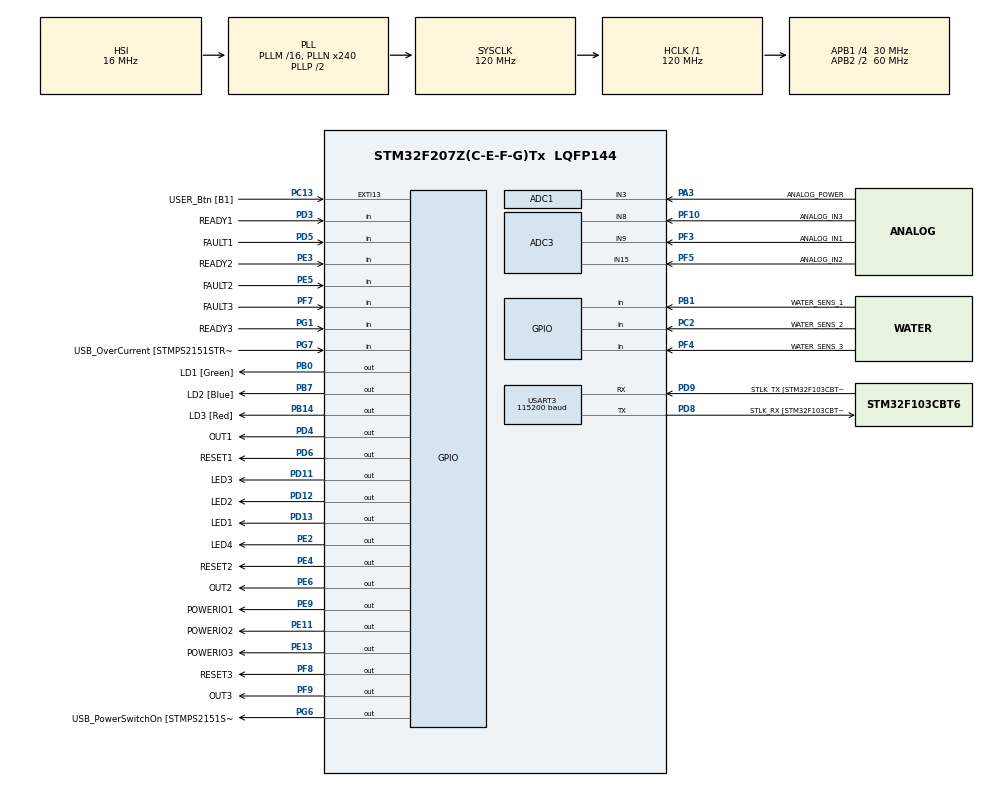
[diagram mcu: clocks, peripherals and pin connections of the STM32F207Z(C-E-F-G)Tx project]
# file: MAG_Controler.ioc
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ADC1.Channel-1\#ChannelRegularConversion=ADC_CHANNEL_3
ADC1.NbrOfConversionFlag=1
ADC1.Rank-1\#ChannelRegularConversion=1
ADC1.SamplingTime-1\#ChannelRegularConversion=ADC_SAMPLETIME_3CYCLES
ADC1.master=1
ADC3.Channel-0\#ChannelRegularConversion=ADC_CHANNEL_9
ADC3.NbrOfConversionFlag=1
ADC3.Rank-0\#ChannelRegularConversion=1
ADC3.SamplingTime-0\#ChannelRegularConversion=ADC_SAMPLETIME_3CYCLES
Dma.MEMTOMEM.0.Direction=DMA_MEMORY_TO_MEMORY
Dma.MEMTOMEM.0.FIFOMode=DMA_FIFOMODE_ENABLE
Dma.MEMTOMEM.0.FIFOThreshold=DMA_FIFO_THRESHOLD_FULL
Dma.MEMTOMEM.0.Instance=DMA2_Stream0
Dma.MEMTOMEM.0.MemBurst=DMA_MBURST_SINGLE
Dma.MEMTOMEM.0.MemDataAlignment=DMA_MDATAALIGN_BYTE
Dma.MEMTOMEM.0.MemInc=DMA_MINC_ENABLE
Dma.MEMTOMEM.0.Mode=DMA_NORMAL
Dma.MEMTOMEM.0.PeriphBurst=DMA_PBURST_SINGLE
Dma.MEMTOMEM.0.PeriphDataAlignment=DMA_PDATAALIGN_BYTE
Dma.MEMTOMEM.0.PeriphInc=DMA_PINC_DISABLE
Dma.MEMTOMEM.0.Priority=DMA_PRIORITY_LOW
Dma.Request0=MEMTOMEM
Mcu.Family=STM32F2
Mcu.Name=STM32F207Z(C-E-F-G)Tx
Mcu.Package=LQFP144
NVIC.PriorityGroup=NVIC_PRIORITYGROUP_4
NVIC.USART3_IRQn=true\:0\:0\:false\:false\:true\:true\:true\:true
PA1.GPIO_Label=RMII_REF_CLK [LAN8742A-CZ-TR_REFCLK0]
PA1.Signal=ETH_REF_CLK
PA10.GPIO_Label=USB_ID
PA10.Signal=USB_OTG_FS_ID
PA11.GPIO_Label=USB_DM
PA11.Signal=USB_OTG_FS_DM
PA12.GPIO_Label=USB_DP
PA12.Signal=USB_OTG_FS_DP
PA13.GPIO_Label=TMS
PA13.Signal=SYS_JTMS-SWDIO
PA14.GPIO_Label=TCK
PA14.Signal=SYS_JTCK-SWCLK
PA2.GPIO_Label=RMII_MDIO [LAN8742A-CZ-TR_MDIO]
PA2.Signal=ETH_MDIO
PA3.GPIO_Label=ANALOG_POWER
PA3.Signal=ADCx_IN3
PA7.GPIO_Label=RMII_CRS_DV [LAN8742A-CZ-TR_CRS_DV]
PA7.Signal=ETH_CRS_DV
PA8.GPIO_Label=USB_SOF [TP1]
PA8.Signal=USB_OTG_FS_SOF
PA9.GPIO_Label=USB_VBUS
PA9.Signal=USB_OTG_FS_VBUS
PB0.GPIO_Label=LD1 [Green]
PB0.Signal=GPIO_Output
PB1.GPIO_Label=WATER_SENS_1
PB1.Signal=GPIO_Input
PB13.GPIO_Label=RMII_TXD1 [LAN8742A-CZ-TR_TXD1]
PB13.Signal=ETH_TXD1
PB14.GPIO_Label=LD3 [Red]
PB14.Signal=GPIO_Output
PB3.GPIO_Label=SWO
PB3.Signal=SYS_JTDO-SWO
PB7.GPIO_Label=LD2 [Blue]
PB7.Signal=GPIO_Output
PC1.GPIO_Label=RMII_MDC [LAN8742A-CZ-TR_MDC]
PC1.Signal=ETH_MDC
PC13.GPIO_Label=USER_Btn [B1]
PC13.Signal=GPXTI13
PC14-OSC32_IN.Signal=RCC_OSC32_IN
PC15-OSC32_OUT.Signal=RCC_OSC32_OUT
PC2.GPIO_Label=WATER_SENS_2
PC2.Signal=GPIO_Input
PC4.GPIO_Label=RMII_RXD0 [LAN8742A-CZ-TR_RXD0]
PC4.Signal=ETH_RXD0
PC5.GPIO_Label=RMII_RXD1 [LAN8742A-CZ-TR_RXD1]
PC5.Signal=ETH_RXD1
PD11.GPIO_Label=LED3
PD11.Signal=GPIO_Output
PD12.GPIO_Label=LED2
PD12.Signal=GPIO_Output
PD13.GPIO_Label=LED1
PD13.Signal=GPIO_Output
PD3.GPIO_Label=READY1
PD3.Signal=GPIO_Input
PD4.GPIO_Label=OUT1
PD4.Signal=GPIO_Output
PD5.GPIO_Label=FAULT1
PD5.Signal=GPIO_Input
PD6.GPIO_Label=RESET1
PD6.GPIO_ModeDefaultOutputPP=GPIO_MODE_OUTPUT_OD
PD6.GPIO_PuPd=GPIO_NOPULL
PD6.Signal=GPIO_Output
PD8.GPIO_Label=STLK_RX [STM32F103CBT6_PA3]
PD8.Mode=Asynchronous
PD8.Signal=USART3_TX
PD9.GPIO_Label=STLK_TX [STM32F103CBT6_PA2]
PD9.Mode=Asynchronous
PD9.Signal=USART3_RX
PE11.GPIO_Label=POWERIO2
PE11.Signal=GPIO_Output
PE13.GPIO_Label=POWERIO3
PE13.Signal=GPIO_Output
PE2.GPIO_Label=LED4
PE2.Signal=GPIO_Output
PE3.GPIO_Label=READY2
PE3.Signal=GPIO_Input
PE4.GPIO_Label=RESET2
PE4.Signal=GPIO_Output
PE5.GPIO_Label=FAULT2
PE5.Signal=GPIO_Input
PE6.GPIO_Label=OUT2
PE6.Signal=GPIO_Output
PE9.GPIO_Label=POWERIO1
PE9.Signal=GPIO_Output
PF10.GPIO_Label=ANALOG_IN3
PF10.Mode=IN8
PF10.Signal=ADC3_IN8
PF3.GPIO_Label=ANALOG_IN1
PF3.Mode=IN9
PF3.Signal=ADC3_IN9
PF4.GPIO_Label=WATER_SENS_3
PF4.Signal=GPIO_Input
PF5.GPIO_Label=ANALOG_IN2
PF5.Mode=IN15
PF5.Signal=ADC3_IN15
PF7.GPIO_Label=FAULT3
PF7.Signal=GPIO_Input
PF8.GPIO_Label=RESET3
PF8.Signal=GPIO_Output
PF9.GPIO_Label=OUT3
PF9.Signal=GPIO_Output
PG1.GPIO_Label=READY3
PG1.Signal=GPIO_Input
PG11.GPIO_Label=RMII_TX_EN [LAN8742A-CZ-TR_TXEN]
PG11.Signal=ETH_TX_EN
PG13.GPIO_Label=RMII_TXD0 [LAN8742A-CZ-TR_TXD0]
PG13.Signal=ETH_TXD0
PG6.GPIO_Label=USB_PowerSwitchOn [STMPS2151STR_EN]
PG6.Signal=GPIO_Output
PG7.GPIO_Label=USB_OverCurrent [STMPS2151STR_FAULT]
PG7.Signal=GPIO_Input
PH0-OSC_IN.GPIO_Label=MCO [STM32F103CBT6_PA8]
PH0-OSC_IN.Signal=RCC_OSC_IN
PH1-OSC_OUT.Signal=RCC_OSC_OUT
ProjectManager.HeapSize=0x200
ProjectManager.StackSize=0x400
ProjectManager.TargetToolchain=STM32CubeIDE
RCC.48MHZClocksFreq_Value=60000000
RCC.AHBFreq_Value=120000000
RCC.APB1CLKDivider=RCC_HCLK_DIV4
RCC.APB1Freq_Value=30000000
RCC.APB1TimFreq_Value=60000000
RCC.APB2CLKDivider=RCC_HCLK_DIV2
RCC.APB2Freq_Value=60000000
RCC.APB2TimFreq_Value=120000000
RCC.CortexFreq_Value=120000000
RCC.HCLKFreq_Value=120000000
RCC.HSE_VALUE=8000000
RCC.HSI_VALUE=16000000
RCC.LSE_VALUE=32768
RCC.PLLMUL=RCC_PLL_MUL9
RCC.PLLN=240
RCC.PRESCALERUSB=RCC_USBCLKSOURCE_PLL_DIV1_5
RCC.SYSCLKFreq_VALUE=120000000
RCC.SYSCLKSource=RCC_SYSCLKSOURCE_PLLCLK
RCC.SYSCLKSourceVirtual=RCC_SYSCLKSOURCE_PLLCLK
RCC.USBFreq_Value=48000000
RCC.VCOOutputFreq_Value=240000000
SH.ADCx_IN3.0=ADC1_IN3,IN3
USART3.BaudRate=115200
USART3.VirtualMode=VM_ASYNC
board=NUCLEO-F207ZG

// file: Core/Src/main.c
/* USER CODE BEGIN Header */
/**
  ******************************************************************************
  * @file           : main.c
  * @brief          : Main program body
  ******************************************************************************
  * @attention
  *
  * Copyright (c) 2024 STMicroelectronics.
  * All rights reserved.
  *
  * This software is licensed under terms that can be found in the LICENSE file
  * in the root directory of this software component.
  * If no LICENSE file comes with this software, it is provided AS-IS.
  *
  ******************************************************************************
  */
/* USER CODE END Header */
#include "main.h"

/* USER CODE BEGIN Includes */
#include "softstarter.h"
#include "util.h"
#include "CLI.h"
//#include "circlebuffer.h"
#include "CLI_f.h"
/* USER CODE END Includes */

/* USER CODE BEGIN PD */

#define wait_time 50

/* USER CODE END PD */

ADC_HandleTypeDef hadc1;
ADC_HandleTypeDef hadc3;

UART_HandleTypeDef huart3;

DMA_HandleTypeDef hdma_memtomem_dma2_stream0;
/* USER CODE BEGIN PV */
uint8_t rx_buff;
//RingBuffer string_uart;

struct magnetron_struct MAG[3];

uint8_t cursor=0;
uint8_t command[64];
const uint8_t eol[2] = {10,13};

uint8_t trash;
uint8_t null =0;

Command_struct Command_array[32];

uint8_t terminal_mode = 0;

/* USER CODE END PV */

void SystemClock_Config(void);
static void MX_GPIO_Init(void);
static void MX_DMA_Init(void);
static void MX_USART3_UART_Init(void);
static void MX_ADC1_Init(void);
static void MX_ADC3_Init(void);

/* USER CODE BEGIN 0 */

void HAL_UART_ErrorCallback(UART_HandleTypeDef * huart){
	if(huart==&huart3){
		HAL_UART_Receive_IT(&huart3, &rx_buff, 1);
	}

}
void HAL_UART_RxCpltCallback (UART_HandleTypeDef * huart)
{
	if(huart==&huart3 ){
		if(rx_buff == 13){
			if(cursor>0){
				if(terminal_mode==1){
					HAL_UART_Transmit(&huart3,&eol[0],2,100);
				}
				state_machine(&Command_array[0], &command[0], cursor);
				HAL_DMA_Start(&hdma_memtomem_dma2_stream0,(uint32_t)(null), (uint32_t)(command), 64);
				HAL_DMA_PollForTransfer(&hdma_memtomem_dma2_stream0, HAL_DMA_FULL_TRANSFER, 100);
				cursor = 0;
			}

		}
		else if((rx_buff == 0x08 || rx_buff == 0x7F ) && terminal_mode == 1 ){
			if(cursor>0){
			command[--cursor]=0;
			HAL_UART_Transmit(&huart3,&rx_buff,1,100);
			}
		}
		else{
			command[cursor++]=rx_buff;
			if(terminal_mode==1){
			HAL_UART_Transmit(&huart3,&rx_buff,1,100);
			}
		}

		HAL_UART_Receive_IT(&huart3, &rx_buff, 1);
	}

}

/* USER CODE END 0 */

int main(void)
{

  /* MCU Configuration--------------------------------------------------------*/

  /* Reset of all peripherals, Initializes the Flash interface and the Systick. */
  HAL_Init();

  /* USER CODE BEGIN Init */
  strcpy(Command_array[0].command, "test");
  Command_array[0].data = 55;
  Command_array[0].function_handler = *test_CLI;

  strcpy(Command_array[1].command, "get_status_0");
  Command_array[1].data = 0;
  Command_array[1].function_handler = *get_status;

  strcpy(Command_array[2].command, "get_status_1");
  Command_array[2].data = 1;
  Command_array[2].function_handler = *get_status;

  strcpy(Command_array[3].command, "get_status_2");
  Command_array[3].data = 2;
  Command_array[3].function_handler = *get_status;

  strcpy(Command_array[4].command, "turn_on_0");
  Command_array[4].data = 0;
  Command_array[4].function_handler = *mag_turn_on;

  strcpy(Command_array[5].command, "turn_on_1");
  Command_array[5].data = 1;
  Command_array[5].function_handler = *mag_turn_on;

  strcpy(Command_array[6].command, "turn_on_2");
  Command_array[6].data = 2;
  Command_array[6].function_handler = *mag_turn_on;

  strcpy(Command_array[7].command, "turn_off_0");
  Command_array[7].data = 0;
  Command_array[7].function_handler = *mag_turn_off;

  strcpy(Command_array[8].command, "turn_off_1");
  Command_array[8].data = 1;
  Command_array[8].function_handler = *mag_turn_off;

  strcpy(Command_array[9].command, "turn_off_2");
  Command_array[9].data = 2;
  Command_array[9].function_handler = *mag_turn_off;

  strcpy(Command_array[10].command, "get_all_status");
  Command_array[10].data = 3;
  Command_array[10].function_handler = *get_all_status;

  strcpy(Command_array[11].command, "reset_0");
  Command_array[11].data = 0;
  Command_array[11].function_handler = *mag_reset;

  strcpy(Command_array[12].command, "reset_1");
  Command_array[12].data = 1;
  Command_array[12].function_handler = *mag_reset;

  strcpy(Command_array[13].command, "reset_2");
  Command_array[13].data = 2;
  Command_array[13].function_handler = *mag_reset;

  strcpy(Command_array[14].command, "reset_all");
  Command_array[14].data = 3;
  Command_array[14].function_handler = *mag_all_reset;

  strcpy(Command_array[15].command, "terminal_on");
  Command_array[15].data = 1;
  Command_array[15].function_handler = *terminal_switch;

  strcpy(Command_array[16].command, "terminal_off");
  Command_array[16].data = 0;
  Command_array[16].function_handler = *terminal_switch;
  /* USER CODE END Init */

  /* Configure the system clock */
  SystemClock_Config();

  /* Initialize all configured peripherals */
  MX_GPIO_Init();
  MX_DMA_Init();
  MX_USART3_UART_Init();
  MX_ADC1_Init();
  MX_ADC3_Init();
  /* USER CODE BEGIN 2 */
  Mag1_init(&MAG[0]);
  Mag2_init(&MAG[1]);
  Mag3_init(&MAG[2]);

  for(uint8_t i=0; i<3;i++){
	  Reset_sofstarter(&MAG[i]); //Reseting drivers before use
  }

  HAL_UART_Receive_IT(&huart3, &rx_buff, 1);
  char out[32];
  uint8_t length = sprintf(&out[0],"Machine is ready for work ;)\r\n");
  HAL_UART_Transmit(&huart3,(uint8_t*)&out[0],length, 100);
  /* USER CODE END 2 */

  /* Infinite loop */
  /* USER CODE BEGIN WHILE */
  while (1)
  {
	  for(uint8_t i=0; i<3;i++){  //Scanning states of drivers
		  Mag_struct_update(&MAG[i]);
	  }
	  HAL_GPIO_WritePin(LED1_GPIO_Port, LED1_Pin, ReadOutput(&MAG[0]));
	  HAL_GPIO_WritePin(LED2_GPIO_Port, LED2_Pin, ReadOutput(&MAG[1]));
	  HAL_GPIO_WritePin(LED3_GPIO_Port, LED3_Pin, ReadOutput(&MAG[2]));
	  HAL_GPIO_WritePin(LED4_GPIO_Port, LED4_Pin, ReadFault(&MAG[0]) && ReadFault(&MAG[1]) && ReadFault(&MAG[2]));

//	  uint64_t wait_i=0;
//	  HAL_Delay(200);
//	  if(wait_i>75){
//		  Set_output_mag(&MAG1,OUTPUT_SET);
//		  Set_output_mag(&MAG2,OUTPUT_SET);
//		  Set_output_mag(&MAG3,OUTPUT_SET);
//	  }
//	  wait_i++;

    /* USER CODE END WHILE */

  }
}

void SystemClock_Config(void)
{
  RCC_OscInitTypeDef RCC_OscInitStruct = {0};
  RCC_ClkInitTypeDef RCC_ClkInitStruct = {0};

  /** Initializes the RCC Oscillators according to the specified parameters
  * in the RCC_OscInitTypeDef structure.
  */
  RCC_OscInitStruct.OscillatorType = RCC_OSCILLATORTYPE_HSI;
  RCC_OscInitStruct.HSIState = RCC_HSI_ON;
  RCC_OscInitStruct.HSICalibrationValue = RCC_HSICALIBRATION_DEFAULT;
  RCC_OscInitStruct.PLL.PLLState = RCC_PLL_ON;
  RCC_OscInitStruct.PLL.PLLSource = RCC_PLLSOURCE_HSI;
  RCC_OscInitStruct.PLL.PLLM = 16;
  RCC_OscInitStruct.PLL.PLLN = 240;
  RCC_OscInitStruct.PLL.PLLP = RCC_PLLP_DIV2;
  RCC_OscInitStruct.PLL.PLLQ = 4;
  if (HAL_RCC_OscConfig(&RCC_OscInitStruct) != HAL_OK)
  {
    Error_Handler();
  }

  /** Initializes the CPU, AHB and APB buses clocks
  */
  RCC_ClkInitStruct.ClockType = RCC_CLOCKTYPE_HCLK|RCC_CLOCKTYPE_SYSCLK
                              |RCC_CLOCKTYPE_PCLK1|RCC_CLOCKTYPE_PCLK2;
  RCC_ClkInitStruct.SYSCLKSource = RCC_SYSCLKSOURCE_PLLCLK;
  RCC_ClkInitStruct.AHBCLKDivider = RCC_SYSCLK_DIV1;
  RCC_ClkInitStruct.APB1CLKDivider = RCC_HCLK_DIV4;
  RCC_ClkInitStruct.APB2CLKDivider = RCC_HCLK_DIV2;

  if (HAL_RCC_ClockConfig(&RCC_ClkInitStruct, FLASH_LATENCY_3) != HAL_OK)
  {
    Error_Handler();
  }
}

static void MX_ADC1_Init(void)
{

  ADC_ChannelConfTypeDef sConfig = {0};

  /** Configure the global features of the ADC (Clock, Resolution, Data Alignment and number of conversion)
  */
  hadc1.Instance = ADC1;
  hadc1.Init.ClockPrescaler = ADC_CLOCK_SYNC_PCLK_DIV2;
  hadc1.Init.Resolution = ADC_RESOLUTION_12B;
  hadc1.Init.ScanConvMode = DISABLE;
  hadc1.Init.ContinuousConvMode = DISABLE;
  hadc1.Init.DiscontinuousConvMode = DISABLE;
  hadc1.Init.ExternalTrigConvEdge = ADC_EXTERNALTRIGCONVEDGE_NONE;
  hadc1.Init.ExternalTrigConv = ADC_SOFTWARE_START;
  hadc1.Init.DataAlign = ADC_DATAALIGN_RIGHT;
  hadc1.Init.NbrOfConversion = 1;
  hadc1.Init.DMAContinuousRequests = DISABLE;
  hadc1.Init.EOCSelection = ADC_EOC_SINGLE_CONV;
  if (HAL_ADC_Init(&hadc1) != HAL_OK)
  {
    Error_Handler();
  }

  /** Configure for the selected ADC regular channel its corresponding rank in the sequencer and its sample time.
  */
  sConfig.Channel = ADC_CHANNEL_3;
  sConfig.Rank = 1;
  sConfig.SamplingTime = ADC_SAMPLETIME_3CYCLES;
  if (HAL_ADC_ConfigChannel(&hadc1, &sConfig) != HAL_OK)
  {
    Error_Handler();
  }

}

static void MX_ADC3_Init(void)
{

  ADC_ChannelConfTypeDef sConfig = {0};

  /** Configure the global features of the ADC (Clock, Resolution, Data Alignment and number of conversion)
  */
  hadc3.Instance = ADC3;
  hadc3.Init.ClockPrescaler = ADC_CLOCK_SYNC_PCLK_DIV2;
  hadc3.Init.Resolution = ADC_RESOLUTION_12B;
  hadc3.Init.ScanConvMode = DISABLE;
  hadc3.Init.ContinuousConvMode = DISABLE;
  hadc3.Init.DiscontinuousConvMode = DISABLE;
  hadc3.Init.ExternalTrigConvEdge = ADC_EXTERNALTRIGCONVEDGE_NONE;
  hadc3.Init.ExternalTrigConv = ADC_SOFTWARE_START;
  hadc3.Init.DataAlign = ADC_DATAALIGN_RIGHT;
  hadc3.Init.NbrOfConversion = 1;
  hadc3.Init.DMAContinuousRequests = DISABLE;
  hadc3.Init.EOCSelection = ADC_EOC_SINGLE_CONV;
  if (HAL_ADC_Init(&hadc3) != HAL_OK)
  {
    Error_Handler();
  }

  /** Configure for the selected ADC regular channel its corresponding rank in the sequencer and its sample time.
  */
  sConfig.Channel = ADC_CHANNEL_9;
  sConfig.Rank = 1;
  sConfig.SamplingTime = ADC_SAMPLETIME_3CYCLES;
  if (HAL_ADC_ConfigChannel(&hadc3, &sConfig) != HAL_OK)
  {
    Error_Handler();
  }

}

static void MX_USART3_UART_Init(void)
{

  huart3.Instance = USART3;
  huart3.Init.BaudRate = 115200;
  huart3.Init.WordLength = UART_WORDLENGTH_8B;
  huart3.Init.StopBits = UART_STOPBITS_1;
  huart3.Init.Parity = UART_PARITY_NONE;
  huart3.Init.Mode = UART_MODE_TX_RX;
  huart3.Init.HwFlowCtl = UART_HWCONTROL_NONE;
  huart3.Init.OverSampling = UART_OVERSAMPLING_16;
  if (HAL_UART_Init(&huart3) != HAL_OK)
  {
    Error_Handler();
  }

}

static void MX_DMA_Init(void)
{

  /* DMA controller clock enable */
  __HAL_RCC_DMA2_CLK_ENABLE();

  /* Configure DMA request hdma_memtomem_dma2_stream0 on DMA2_Stream0 */
  hdma_memtomem_dma2_stream0.Instance = DMA2_Stream0;
  hdma_memtomem_dma2_stream0.Init.Channel = DMA_CHANNEL_0;
  hdma_memtomem_dma2_stream0.Init.Direction = DMA_MEMORY_TO_MEMORY;
  hdma_memtomem_dma2_stream0.Init.PeriphInc = DMA_PINC_DISABLE;
  hdma_memtomem_dma2_stream0.Init.MemInc = DMA_MINC_ENABLE;
  hdma_memtomem_dma2_stream0.Init.PeriphDataAlignment = DMA_PDATAALIGN_BYTE;
  hdma_memtomem_dma2_stream0.Init.MemDataAlignment = DMA_MDATAALIGN_BYTE;
  hdma_memtomem_dma2_stream0.Init.Mode = DMA_NORMAL;
  hdma_memtomem_dma2_stream0.Init.Priority = DMA_PRIORITY_LOW;
  hdma_memtomem_dma2_stream0.Init.FIFOMode = DMA_FIFOMODE_ENABLE;
  hdma_memtomem_dma2_stream0.Init.FIFOThreshold = DMA_FIFO_THRESHOLD_FULL;
  hdma_memtomem_dma2_stream0.Init.MemBurst = DMA_MBURST_SINGLE;
  hdma_memtomem_dma2_stream0.Init.PeriphBurst = DMA_PBURST_SINGLE;
  if (HAL_DMA_Init(&hdma_memtomem_dma2_stream0) != HAL_OK)
  {
    Error_Handler( );
  }

}

static void MX_GPIO_Init(void)
{
  GPIO_InitTypeDef GPIO_InitStruct = {0};

  /* GPIO Ports Clock Enable */
  __HAL_RCC_GPIOE_CLK_ENABLE();
  __HAL_RCC_GPIOC_CLK_ENABLE();
  __HAL_RCC_GPIOF_CLK_ENABLE();
  __HAL_RCC_GPIOH_CLK_ENABLE();
  __HAL_RCC_GPIOA_CLK_ENABLE();
  __HAL_RCC_GPIOB_CLK_ENABLE();
  __HAL_RCC_GPIOG_CLK_ENABLE();
  __HAL_RCC_GPIOD_CLK_ENABLE();

  /*Configure GPIO pin Output Level */
  HAL_GPIO_WritePin(GPIOE, LED4_Pin|RESET2_Pin|OUT2_Pin|POWERIO1_Pin
                          |POWERIO2_Pin|POWERIO3_Pin, GPIO_PIN_RESET);

  /*Configure GPIO pin Output Level */
  HAL_GPIO_WritePin(GPIOF, RESET3_Pin|OUT3_Pin, GPIO_PIN_RESET);

  /*Configure GPIO pin Output Level */
  HAL_GPIO_WritePin(GPIOB, LD1_Pin|LD3_Pin|LD2_Pin, GPIO_PIN_RESET);

  /*Configure GPIO pin Output Level */
  HAL_GPIO_WritePin(GPIOD, LED3_Pin|LED2_Pin|LED1_Pin|OUT1_Pin
                          |RESET1_Pin, GPIO_PIN_RESET);

  /*Configure GPIO pin Output Level */
  HAL_GPIO_WritePin(USB_PowerSwitchOn_GPIO_Port, USB_PowerSwitchOn_Pin, GPIO_PIN_RESET);

  /*Configure GPIO pins : LED4_Pin RESET2_Pin OUT2_Pin POWERIO1_Pin
                           POWERIO2_Pin POWERIO3_Pin */
  GPIO_InitStruct.Pin = LED4_Pin|RESET2_Pin|OUT2_Pin|POWERIO1_Pin
                          |POWERIO2_Pin|POWERIO3_Pin;
  GPIO_InitStruct.Mode = GPIO_MODE_OUTPUT_PP;
  GPIO_InitStruct.Pull = GPIO_NOPULL;
  GPIO_InitStruct.Speed = GPIO_SPEED_FREQ_LOW;
  HAL_GPIO_Init(GPIOE, &GPIO_InitStruct);

  /*Configure GPIO pins : READY2_Pin FAULT2_Pin */
  GPIO_InitStruct.Pin = READY2_Pin|FAULT2_Pin;
  GPIO_InitStruct.Mode = GPIO_MODE_INPUT;
  GPIO_InitStruct.Pull = GPIO_NOPULL;
  HAL_GPIO_Init(GPIOE, &GPIO_InitStruct);

  /*Configure GPIO pin : USER_Btn_Pin */
  GPIO_InitStruct.Pin = USER_Btn_Pin;
  GPIO_InitStruct.Mode = GPIO_MODE_IT_RISING;
  GPIO_InitStruct.Pull = GPIO_NOPULL;
  HAL_GPIO_Init(USER_Btn_GPIO_Port, &GPIO_InitStruct);

  /*Configure GPIO pins : WATER_SENS_3_Pin FAULT3_Pin */
  GPIO_InitStruct.Pin = WATER_SENS_3_Pin|FAULT3_Pin;
  GPIO_InitStruct.Mode = GPIO_MODE_INPUT;
  GPIO_InitStruct.Pull = GPIO_NOPULL;
  HAL_GPIO_Init(GPIOF, &GPIO_InitStruct);

  /*Configure GPIO pins : RESET3_Pin OUT3_Pin */
  GPIO_InitStruct.Pin = RESET3_Pin|OUT3_Pin;
  GPIO_InitStruct.Mode = GPIO_MODE_OUTPUT_PP;
  GPIO_InitStruct.Pull = GPIO_NOPULL;
  GPIO_InitStruct.Speed = GPIO_SPEED_FREQ_LOW;
  HAL_GPIO_Init(GPIOF, &GPIO_InitStruct);

  /*Configure GPIO pins : RMII_MDC_Pin RMII_RXD0_Pin RMII_RXD1_Pin */
  GPIO_InitStruct.Pin = RMII_MDC_Pin|RMII_RXD0_Pin|RMII_RXD1_Pin;
  GPIO_InitStruct.Mode = GPIO_MODE_AF_PP;
  GPIO_InitStruct.Pull = GPIO_NOPULL;
  GPIO_InitStruct.Speed = GPIO_SPEED_FREQ_VERY_HIGH;
  GPIO_InitStruct.Alternate = GPIO_AF11_ETH;
  HAL_GPIO_Init(GPIOC, &GPIO_InitStruct);

  /*Configure GPIO pin : WATER_SENS_2_Pin */
  GPIO_InitStruct.Pin = WATER_SENS_2_Pin;
  GPIO_InitStruct.Mode = GPIO_MODE_INPUT;
  GPIO_InitStruct.Pull = GPIO_NOPULL;
  HAL_GPIO_Init(WATER_SENS_2_GPIO_Port, &GPIO_InitStruct);

  /*Configure GPIO pins : RMII_REF_CLK_Pin RMII_MDIO_Pin RMII_CRS_DV_Pin */
  GPIO_InitStruct.Pin = RMII_REF_CLK_Pin|RMII_MDIO_Pin|RMII_CRS_DV_Pin;
  GPIO_InitStruct.Mode = GPIO_MODE_AF_PP;
  GPIO_InitStruct.Pull = GPIO_NOPULL;
  GPIO_InitStruct.Speed = GPIO_SPEED_FREQ_VERY_HIGH;
  GPIO_InitStruct.Alternate = GPIO_AF11_ETH;
  HAL_GPIO_Init(GPIOA, &GPIO_InitStruct);

  /*Configure GPIO pins : LD1_Pin LD3_Pin LD2_Pin */
  GPIO_InitStruct.Pin = LD1_Pin|LD3_Pin|LD2_Pin;
  GPIO_InitStruct.Mode = GPIO_MODE_OUTPUT_PP;
  GPIO_InitStruct.Pull = GPIO_NOPULL;
  GPIO_InitStruct.Speed = GPIO_SPEED_FREQ_LOW;
  HAL_GPIO_Init(GPIOB, &GPIO_InitStruct);

  /*Configure GPIO pin : WATER_SENS_1_Pin */
  GPIO_InitStruct.Pin = WATER_SENS_1_Pin;
  GPIO_InitStruct.Mode = GPIO_MODE_INPUT;
  GPIO_InitStruct.Pull = GPIO_NOPULL;
  HAL_GPIO_Init(WATER_SENS_1_GPIO_Port, &GPIO_InitStruct);

  /*Configure GPIO pins : READY3_Pin USB_OverCurrent_Pin */
  GPIO_InitStruct.Pin = READY3_Pin|USB_OverCurrent_Pin;
  GPIO_InitStruct.Mode = GPIO_MODE_INPUT;
  GPIO_InitStruct.Pull = GPIO_NOPULL;
  HAL_GPIO_Init(GPIOG, &GPIO_InitStruct);

  /*Configure GPIO pin : RMII_TXD1_Pin */
  GPIO_InitStruct.Pin = RMII_TXD1_Pin;
  GPIO_InitStruct.Mode = GPIO_MODE_AF_PP;
  GPIO_InitStruct.Pull = GPIO_NOPULL;
  GPIO_InitStruct.Speed = GPIO_SPEED_FREQ_VERY_HIGH;
  GPIO_InitStruct.Alternate = GPIO_AF11_ETH;
  HAL_GPIO_Init(RMII_TXD1_GPIO_Port, &GPIO_InitStruct);

  /*Configure GPIO pins : LED3_Pin LED2_Pin LED1_Pin OUT1_Pin */
  GPIO_InitStruct.Pin = LED3_Pin|LED2_Pin|LED1_Pin|OUT1_Pin;
  GPIO_InitStruct.Mode = GPIO_MODE_OUTPUT_PP;
  GPIO_InitStruct.Pull = GPIO_NOPULL;
  GPIO_InitStruct.Speed = GPIO_SPEED_FREQ_LOW;
  HAL_GPIO_Init(GPIOD, &GPIO_InitStruct);

  /*Configure GPIO pin : USB_PowerSwitchOn_Pin */
  GPIO_InitStruct.Pin = USB_PowerSwitchOn_Pin;
  GPIO_InitStruct.Mode = GPIO_MODE_OUTPUT_PP;
  GPIO_InitStruct.Pull = GPIO_NOPULL;
  GPIO_InitStruct.Speed = GPIO_SPEED_FREQ_LOW;
  HAL_GPIO_Init(USB_PowerSwitchOn_GPIO_Port, &GPIO_InitStruct);

  /*Configure GPIO pins : USB_SOF_Pin USB_ID_Pin USB_DM_Pin USB_DP_Pin */
  GPIO_InitStruct.Pin = USB_SOF_Pin|USB_ID_Pin|USB_DM_Pin|USB_DP_Pin;
  GPIO_InitStruct.Mode = GPIO_MODE_AF_PP;
  GPIO_InitStruct.Pull = GPIO_NOPULL;
  GPIO_InitStruct.Speed = GPIO_SPEED_FREQ_VERY_HIGH;
  GPIO_InitStruct.Alternate = GPIO_AF10_OTG_FS;
  HAL_GPIO_Init(GPIOA, &GPIO_InitStruct);

  /*Configure GPIO pin : USB_VBUS_Pin */
  GPIO_InitStruct.Pin = USB_VBUS_Pin;
  GPIO_InitStruct.Mode = GPIO_MODE_INPUT;
  GPIO_InitStruct.Pull = GPIO_NOPULL;
  HAL_GPIO_Init(USB_VBUS_GPIO_Port, &GPIO_InitStruct);

  /*Configure GPIO pins : READY1_Pin FAULT1_Pin */
  GPIO_InitStruct.Pin = READY1_Pin|FAULT1_Pin;
  GPIO_InitStruct.Mode = GPIO_MODE_INPUT;
  GPIO_InitStruct.Pull = GPIO_NOPULL;
  HAL_GPIO_Init(GPIOD, &GPIO_InitStruct);

  /*Configure GPIO pin : RESET1_Pin */
  GPIO_InitStruct.Pin = RESET1_Pin;
  GPIO_InitStruct.Mode = GPIO_MODE_OUTPUT_OD;
  GPIO_InitStruct.Pull = GPIO_NOPULL;
  GPIO_InitStruct.Speed = GPIO_SPEED_FREQ_LOW;
  HAL_GPIO_Init(RESET1_GPIO_Port, &GPIO_InitStruct);

  /*Configure GPIO pins : RMII_TX_EN_Pin RMII_TXD0_Pin */
  GPIO_InitStruct.Pin = RMII_TX_EN_Pin|RMII_TXD0_Pin;
  GPIO_InitStruct.Mode = GPIO_MODE_AF_PP;
  GPIO_InitStruct.Pull = GPIO_NOPULL;
  GPIO_InitStruct.Speed = GPIO_SPEED_FREQ_VERY_HIGH;
  GPIO_InitStruct.Alternate = GPIO_AF11_ETH;
  HAL_GPIO_Init(GPIOG, &GPIO_InitStruct);

}

void Error_Handler(void)
{
  __disable_irq();
  while (1)
  {
  }
}
